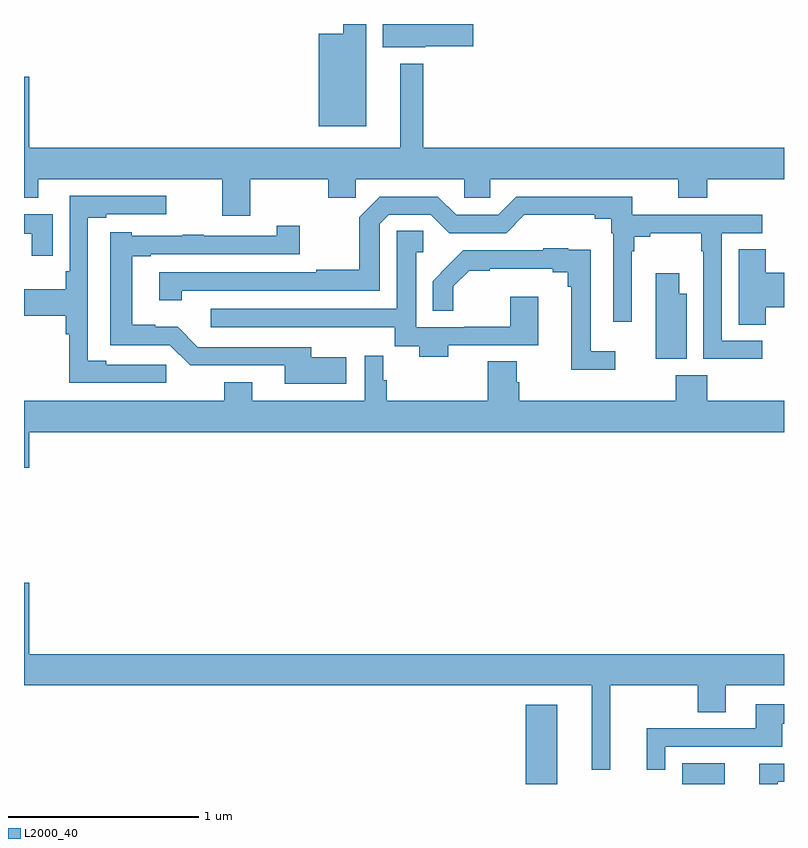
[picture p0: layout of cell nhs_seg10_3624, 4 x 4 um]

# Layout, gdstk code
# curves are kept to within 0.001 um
import gdstk
lib = gdstk.Library(unit=1e-6, precision=1e-09)
def R(c, l, rs):  # rectangles x0, y0, x1, y1
    for r in rs: c.add(gdstk.rectangle(r[:2], r[2:], *l))
def P(c, l, *ps):  # polygons
    for p in ps: c.add(gdstk.Polygon(p, *l))
L2000_40 = (2000, 40)

nhs_seg10_3624 = lib.new_cell('nhs_seg10_3624')
R(nhs_seg10_3624, L2000_40, [(311.642,1262.5,311.806,1262.917), (312.464,1262.5,312.688,1262.608)])
P(nhs_seg10_3624, L2000_40, [(310.801,1266.5),(310.68,1266.5),(310.68,1266.448),(310.55,1266.448),(310.55,1265.963),(310.801,1265.963)],
  [(311.112,1266.383),(311.365,1266.383),(311.365,1266.5),(310.889,1266.5),(310.889,1266.377),(311.112,1266.377)],
  [(310.191,1265.684),(310.6,1265.684),(310.6,1265.586),(310.745,1265.586),(310.745,1265.684),(311.316,1265.684),(311.316,1265.586),(311.454,1265.586),(311.454,1265.684),(312.443,1265.684),(312.443,1265.585),(312.596,1265.585),(312.596,1265.684),(313,1265.684),(313,1265.848),(311.101,1265.848),(311.101,1266.292),(310.979,1266.292),(310.979,1265.848),(309.028,1265.848),(309.028,1266.223),(309,1266.223),(309,1265.585),(309.076,1265.585),(309.076,1265.684),(310.043,1265.684),(310.043,1265.49),(310.191,1265.49)],
  [(309.748,1264.707),(309.433,1264.707),(309.433,1264.727),(309.336,1264.727),(309.336,1265.481),(309.433,1265.481),(309.433,1265.499),(309.748,1265.499),(309.748,1265.595),(309.24,1265.595),(309.24,1265.2),(309.22,1265.2),(309.22,1265.104),(309,1265.104),(309,1264.964),(309.22,1264.964),(309.22,1264.868),(309.238,1264.868),(309.238,1264.611),(309.748,1264.611)],
  [(312.886,1264.833),(312.672,1264.833),(312.672,1265.4),(312.886,1265.4),(312.886,1265.496),(312.201,1265.496),(312.201,1265.592),(311.592,1265.592),(311.496,1265.496),(311.274,1265.496),(311.178,1265.592),(310.872,1265.592),(310.764,1265.483),(310.764,1265.206),(310.537,1265.206),(310.537,1265.193),(309.711,1265.193),(309.711,1265.046),(309.831,1265.046),(309.831,1265.097),(310.872,1265.097),(310.872,1265.448),(310.92,1265.496),(311.142,1265.496),(311.238,1265.4),(311.538,1265.4),(311.633,1265.495),(312.005,1265.495),(312.005,1265.476),(312.09,1265.476),(312.09,1265.399),(312.102,1265.399),(312.102,1264.932),(312.198,1264.932),(312.198,1265.303),(312.211,1265.303),(312.211,1265.38),(312.295,1265.38),(312.295,1265.399),(312.564,1265.399),(312.564,1265.303),(312.576,1265.303),(312.576,1264.737),(312.886,1264.737)],
  [(309.15,1265.498),(309,1265.498),(309,1265.395),(309.042,1265.395),(309.042,1265.28),(309.15,1265.28)],
  [(310.696,1264.747),(310.513,1264.747),(310.513,1264.8),(309.915,1264.8),(309.809,1264.906),(309.69,1264.906),(309.69,1264.918),(309.571,1264.918),(309.571,1265.277),(309.667,1265.277),(309.667,1265.289),(310.45,1265.289),(310.45,1265.437),(310.329,1265.437),(310.329,1265.385),(309.947,1265.385),(309.947,1265.39),(309.835,1265.39),(309.835,1265.385),(309.567,1265.385),(309.567,1265.404),(309.455,1265.404),(309.455,1264.809),(309.768,1264.809),(309.875,1264.703),(310.373,1264.704),(310.373,1264.607),(310.696,1264.607)],
  [(311.234,1264.809),(311.707,1264.809),(311.707,1265.065),(311.56,1265.065),(311.56,1264.907),(311.317,1264.907),(311.317,1264.905),(311.065,1264.905),(311.065,1265.3),(311.1,1265.3),(311.1,1265.411),(310.962,1265.411),(310.962,1265.303),(310.961,1265.303),(310.961,1265.001),(309.984,1265.001),(309.984,1264.905),(310.683,1264.905),(310.683,1264.904),(310.952,1264.904),(310.952,1264.805),(311.081,1264.805),(311.081,1264.748),(311.234,1264.748)],
  [(312.112,1264.777),(311.983,1264.777),(311.983,1265.312),(311.865,1265.312),(311.865,1265.32),(311.733,1265.32),(311.733,1265.31),(311.312,1265.31),(311.233,1265.231),(311.234,1265.23),(311.15,1265.147),(311.15,1264.99),(311.26,1264.99),(311.26,1265.119),(311.343,1265.202),(311.452,1265.202),(311.452,1265.213),(311.783,1265.213),(311.783,1265.194),(311.862,1265.194),(311.862,1265.117),(311.879,1265.117),(311.879,1264.679),(312.112,1264.679)],
  [(312.905,1265.009),(313,1265.009),(313,1265.192),(312.905,1265.192),(312.905,1265.315),(312.761,1265.315),(312.761,1264.918),(312.905,1264.918)],
  [(312.487,1265.08),(312.448,1265.08),(312.448,1265.188),(312.326,1265.188),(312.326,1264.737),(312.487,1264.737)],
  [(309.028,1264.352),(313,1264.352),(313,1264.516),(312.596,1264.516),(312.596,1264.651),(312.431,1264.651),(312.431,1264.516),(311.606,1264.516),(311.606,1264.614),(311.593,1264.614),(311.593,1264.724),(311.441,1264.724),(311.441,1264.516),(310.91,1264.516),(310.91,1264.626),(310.891,1264.626),(310.891,1264.753),(310.794,1264.753),(310.794,1264.516),(310.201,1264.516),(310.201,1264.615),(310.054,1264.615),(310.054,1264.516),(309,1264.516),(309,1264.164),(309.028,1264.164)],
  [(312.086,1263.02),(312.547,1263.02),(312.547,1262.878),(312.694,1262.878),(312.694,1263.02),(313,1263.02),(313,1263.184),(309.028,1263.184),(309.028,1263.559),(309,1263.559),(309,1263.02),(311.987,1263.02),(311.987,1262.574),(312.086,1262.574)],
  [(312.375,1262.697),(312.991,1262.697),(312.991,1262.816),(313,1262.816),(313,1262.92),(312.851,1262.92),(312.851,1262.793),(312.278,1262.793),(312.278,1262.574),(312.375,1262.574)],
  [(312.966,1262.511),(313,1262.511),(313,1262.607),(312.869,1262.607),(312.869,1262.5),(312.966,1262.5)])

lib.write_gds('nhs_seg10_3624.gds')
